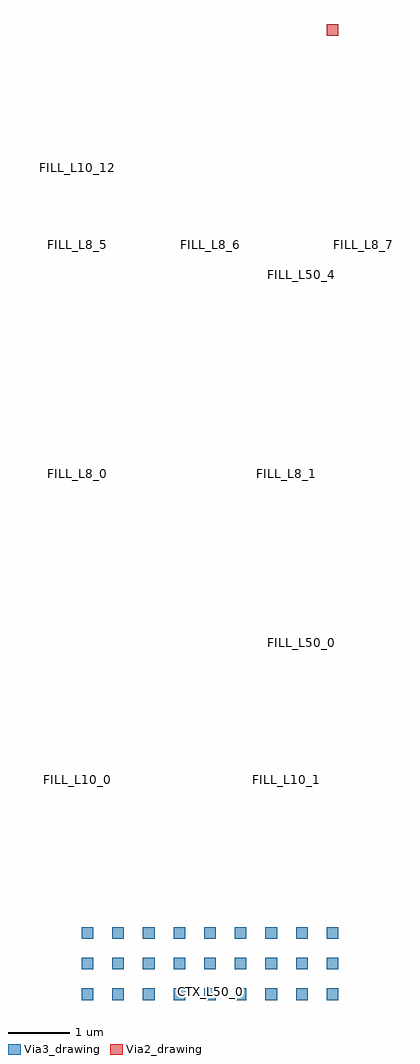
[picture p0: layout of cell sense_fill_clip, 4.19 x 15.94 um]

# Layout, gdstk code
import gdstk
lib = gdstk.Library(unit=1e-6, precision=1e-09)
def R(c, l, rs):  # rectangles x0, y0, x1, y1
    for r in rs: c.add(gdstk.rectangle(r[:2], r[2:], *l))
def A(c, l, x, y, w, h, nx, ny, dx, dy):  # array of equal rectangles
    R(c, l, [(x+i*dx, y+j*dy, x+i*dx+w, y+j*dy+h) for i in range(nx) for j in range(ny)])
Via2_drawing = (29, 0)
Via3_drawing = (49, 0)

sense_fill_clip = lib.new_cell('sense_fill_clip')
R(sense_fill_clip, Via2_drawing, [(842.405,953.905,842.595,954.095)])
A(sense_fill_clip, Via3_drawing, 838.405, 938.155, 0.19, 0.19, 9, 3, 0.5, 0.5)
sense_fill_clip.add(gdstk.Label('FILL_L8_22', (857.83,955.5), layer=8, texttype=25))
sense_fill_clip.add(gdstk.Label('FILL_L8_19', (850.5,955.5), layer=8, texttype=25))
sense_fill_clip.add(gdstk.Label('FILL_L8_18', (848,955.5), layer=8, texttype=25))
sense_fill_clip.add(gdstk.Label('FILL_L8_16', (843,955.5), layer=8, texttype=25))
sense_fill_clip.add(gdstk.Label('FILL_L8_14', (838.33,955.5), layer=8, texttype=25))
sense_fill_clip.add(gdstk.Label('FILL_L8_13', (857.83,950.5), layer=8, texttype=25))
sense_fill_clip.add(gdstk.Label('FILL_L8_21', (855.5,955.5), layer=8, texttype=25))
sense_fill_clip.add(gdstk.Label('FILL_L8_12', (855.5,950.5), layer=8, texttype=25))
sense_fill_clip.add(gdstk.Label('FILL_L8_11', (853,950.5), layer=8, texttype=25))
sense_fill_clip.add(gdstk.Label('FILL_L8_15', (840.5,955.5), layer=8, texttype=25))
sense_fill_clip.add(gdstk.Label('CTX_L8_0', (848.16,942.15), layer=8, texttype=25))
sense_fill_clip.add(gdstk.Label('FILL_L8_6', (840.5,950.5), layer=8, texttype=25))
sense_fill_clip.add(gdstk.Label('CTX_L8_1', (848.16,953.85), layer=8, texttype=25))
sense_fill_clip.add(gdstk.Label('FILL_L8_0', (838.33,946.75), layer=8, texttype=25))
sense_fill_clip.add(gdstk.Label('FILL_L8_20', (853,955.5), layer=8, texttype=25))
sense_fill_clip.add(gdstk.Label('FILL_L8_2', (846.75,946.75), layer=8, texttype=25))
sense_fill_clip.add(gdstk.Label('FILL_L8_1', (841.75,946.75), layer=8, texttype=25))
sense_fill_clip.add(gdstk.Label('FILL_L8_3', (851.75,946.75), layer=8, texttype=25))
sense_fill_clip.add(gdstk.Label('FILL_L8_5', (838.33,950.5), layer=8, texttype=25))
sense_fill_clip.add(gdstk.Label('FILL_L8_4', (856.58,946.75), layer=8, texttype=25))
sense_fill_clip.add(gdstk.Label('FILL_L8_7', (843,950.5), layer=8, texttype=25))
sense_fill_clip.add(gdstk.Label('FILL_L8_8', (845.5,950.5), layer=8, texttype=25))
sense_fill_clip.add(gdstk.Label('FILL_L8_17', (845.5,955.5), layer=8, texttype=25))
sense_fill_clip.add(gdstk.Label('FILL_L8_9', (848,950.5), layer=8, texttype=25))
sense_fill_clip.add(gdstk.Label('FILL_L8_10', (850.5,950.5), layer=8, texttype=25))
sense_fill_clip.add(gdstk.Label('FILL_L10_16', (838.33,955.5), layer=10, texttype=25))
sense_fill_clip.add(gdstk.Label('FILL_L10_22', (857.83,955.5), layer=10, texttype=25))
sense_fill_clip.add(gdstk.Label('FILL_L10_17', (845.5,955.5), layer=10, texttype=25))
sense_fill_clip.add(gdstk.Label('FILL_L10_13', (846.75,951.75), layer=10, texttype=25))
sense_fill_clip.add(gdstk.Label('FILL_L10_14', (851.75,951.75), layer=10, texttype=25))
sense_fill_clip.add(gdstk.Label('FILL_L10_11', (843,950.5), layer=10, texttype=25))
sense_fill_clip.add(gdstk.Label('FILL_L10_0', (838.33,941.75), layer=10, texttype=25))
sense_fill_clip.add(gdstk.Label('FILL_L10_1', (841.75,941.75), layer=10, texttype=25))
sense_fill_clip.add(gdstk.Label('FILL_L10_6', (841.75,946.75), layer=10, texttype=25))
sense_fill_clip.add(gdstk.Label('FILL_L10_21', (855.5,955.5), layer=10, texttype=25))
sense_fill_clip.add(gdstk.Label('FILL_L10_2', (846.75,941.75), layer=10, texttype=25))
sense_fill_clip.add(gdstk.Label('FILL_L10_20', (853,955.5), layer=10, texttype=25))
sense_fill_clip.add(gdstk.Label('FILL_L10_3', (851.75,941.75), layer=10, texttype=25))
sense_fill_clip.add(gdstk.Label('FILL_L10_18', (848,955.5), layer=10, texttype=25))
sense_fill_clip.add(gdstk.Label('FILL_L10_15', (856.58,951.75), layer=10, texttype=25))
sense_fill_clip.add(gdstk.Label('FILL_L10_4', (856.58,941.75), layer=10, texttype=25))
sense_fill_clip.add(gdstk.Label('FILL_L10_10', (840.5,950.5), layer=10, texttype=25))
sense_fill_clip.add(gdstk.Label('FILL_L10_19', (850.5,955.5), layer=10, texttype=25))
sense_fill_clip.add(gdstk.Label('FILL_L10_5', (838.33,946.75), layer=10, texttype=25))
sense_fill_clip.add(gdstk.Label('CTX_L10_0', (842.5,956.79), layer=10, texttype=25))
sense_fill_clip.add(gdstk.Label('FILL_L10_7', (846.75,946.75), layer=10, texttype=25))
sense_fill_clip.add(gdstk.Label('FILL_L10_12', (838.33,951.75), layer=10, texttype=25))
sense_fill_clip.add(gdstk.Label('FILL_L10_8', (851.75,946.75), layer=10, texttype=25))
sense_fill_clip.add(gdstk.Label('FILL_L10_9', (856.58,946.75), layer=10, texttype=25))
sense_fill_clip.add(gdstk.Label('CTX_L30_7', (848.16,954), layer=30, texttype=25))
sense_fill_clip.add(gdstk.Label('P', (848.16,947.52), layer=30, texttype=25))
sense_fill_clip.add(gdstk.Label('N', (848.16,947.94), layer=30, texttype=25))
sense_fill_clip.add(gdstk.Label('CTX_L30_3', (848.16,946.68), layer=30, texttype=25))
sense_fill_clip.add(gdstk.Label('CTX_L30_2', (848.16,943.74), layer=30, texttype=25))
sense_fill_clip.add(gdstk.Label('CTX_L30_4', (848.16,947.1), layer=30, texttype=25))
sense_fill_clip.add(gdstk.Label('CTX_L30_1', (848.16,942), layer=30, texttype=25))
sense_fill_clip.add(gdstk.Label('CTX_L30_0', (848.16,938.75), layer=30, texttype=25))
sense_fill_clip.add(gdstk.Label('FILL_L50_11', (858.08,956), layer=50, texttype=25))
sense_fill_clip.add(gdstk.Label('FILL_L50_10', (854,956), layer=50, texttype=25))
sense_fill_clip.add(gdstk.Label('FILL_L50_9', (848,956), layer=50, texttype=25))
sense_fill_clip.add(gdstk.Label('FILL_L50_7', (858.08,950), layer=50, texttype=25))
sense_fill_clip.add(gdstk.Label('FILL_L50_6', (854,950), layer=50, texttype=25))
sense_fill_clip.add(gdstk.Label('FILL_L50_5', (848,950), layer=50, texttype=25))
sense_fill_clip.add(gdstk.Label('FILL_L50_4', (842,950), layer=50, texttype=25))
sense_fill_clip.add(gdstk.Label('FILL_L50_3', (858.08,944), layer=50, texttype=25))
sense_fill_clip.add(gdstk.Label('FILL_L50_2', (854,944), layer=50, texttype=25))
sense_fill_clip.add(gdstk.Label('FILL_L50_8', (842,956), layer=50, texttype=25))
sense_fill_clip.add(gdstk.Label('FILL_L50_1', (848,944), layer=50, texttype=25))
sense_fill_clip.add(gdstk.Label('FILL_L50_0', (842,944), layer=50, texttype=25))
sense_fill_clip.add(gdstk.Label('CTX_L50_0', (840.5,938.29), layer=50, texttype=25))
sense_fill_clip.add(gdstk.Label('FILL_L67_11', (858.08,956), layer=67, texttype=25))
sense_fill_clip.add(gdstk.Label('FILL_L67_10', (854,956), layer=67, texttype=25))
sense_fill_clip.add(gdstk.Label('FILL_L67_8', (842,956), layer=67, texttype=25))
sense_fill_clip.add(gdstk.Label('FILL_L67_7', (858.08,950), layer=67, texttype=25))
sense_fill_clip.add(gdstk.Label('FILL_L67_6', (854,950), layer=67, texttype=25))
sense_fill_clip.add(gdstk.Label('FILL_L67_5', (848,950), layer=67, texttype=25))
sense_fill_clip.add(gdstk.Label('FILL_L67_3', (858.08,944), layer=67, texttype=25))
sense_fill_clip.add(gdstk.Label('FILL_L67_9', (848,956), layer=67, texttype=25))
sense_fill_clip.add(gdstk.Label('FILL_L67_2', (854,944), layer=67, texttype=25))
sense_fill_clip.add(gdstk.Label('FILL_L67_4', (842,950), layer=67, texttype=25))
sense_fill_clip.add(gdstk.Label('FILL_L67_1', (848,944), layer=67, texttype=25))
sense_fill_clip.add(gdstk.Label('FILL_L67_0', (842,944), layer=67, texttype=25))
sense_fill_clip.add(gdstk.Label('CTX_L134_0', (848.16,942), layer=134, texttype=25))

lib.write_gds('sense_fill_clip.gds')
